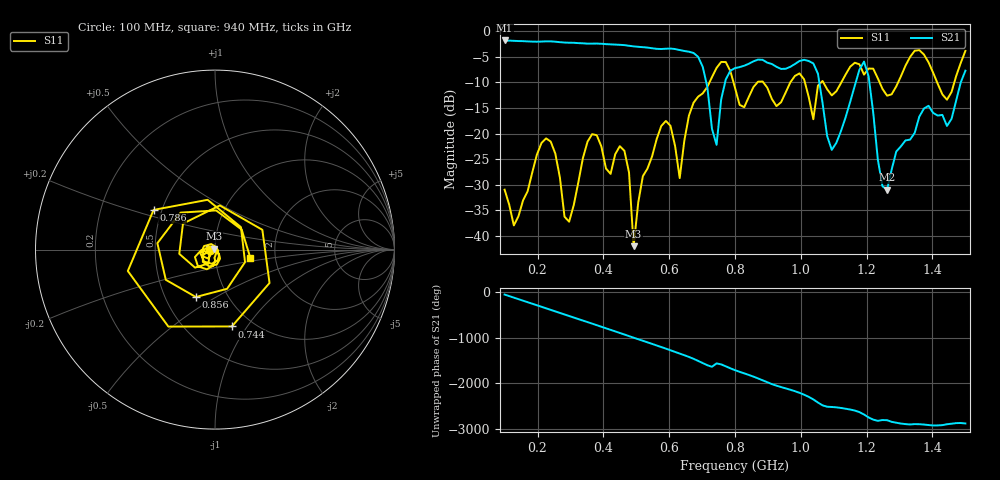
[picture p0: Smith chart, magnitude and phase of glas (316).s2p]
! NanoVNA-App
! Date: 2025-09-25 15:57:56
! Start: 100MHz Stop: 1,5GHz Points: 101
! S-Parameter data: F S11 S21 S12 S22
# Hz S RI R 50
!  Frequency  S11_Real  S11_Imag  S21_Real  S21_Imag  S12_Real  S12_Imag  S22_Real  S22_Imag
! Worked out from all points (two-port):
!   101 points, 100 MHz to 1.5 GHz, reference 50 ohm
!   highest |S21| = -1.80 dB at 100 MHz (marker M1); lowest = -30.9 dB at 1.262 GHz (marker M2)
!   |S21| within 3 dB of the highest: start of sweep to 684.3 MHz
!   lowest |S11| = -42.0 dB at 492 MHz (marker M3), VSWR 1.02, Z = 49.5 + j0.6 ohm
!   |S11| at or under -10 dB: start of sweep to 722.4 MHz; 795.5 MHz to 868 MHz (72.55 MHz wide, 8.72 % of centre); 886.1 MHz to 968 MHz (81.85 MHz wide, 8.83 % of centre) (the widest 3 of 7)
!   S12 and S22 are empty: the file has one direction only
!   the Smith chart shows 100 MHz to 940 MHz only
!   S11 on the Smith chart (normalised r, x): 100 MHz: 0.95, -0.01; 744 MHz: 0.80, -0.85; 786 MHz: 0.45, +0.24; 856 MHz: 0.71, -0.41; 940 MHz: 1.48, -0.15
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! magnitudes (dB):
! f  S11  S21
! 100 MHz  -30.9  -1.8
! 128 MHz  -37.9  -1.9
! 226 MHz  -20.9  -2.0
! 296 MHz  -37.2  -2.2
! 338 MHz  -24.7  -2.4
! 464 MHz  -23.4  -2.7
! 492 MHz  -42.0  -3.0
! 576 MHz  -18.5  -3.5
! 632 MHz  -28.7  -3.7
! 702 MHz  -12.1  -7.0
! 744 MHz  -7.2  -22.2
! 786 MHz  -7.8  -7.7
! 800 MHz  -11.0  -7.2
! 856 MHz  -10.9  -5.9
! 940 MHz  -13.9  -7.4
! 996 MHz  -8.2  -5.8
! 1.038 GHz  -17.2  -6.3
! 1.094 GHz  -12.5  -23.2
! 1.192 GHz  -8.5  -5.9
! 1.262 GHz  -12.6  -30.9
! 1.276 GHz  -12.3  -27.0
! 1.5 GHz  -3.8  -7.7
